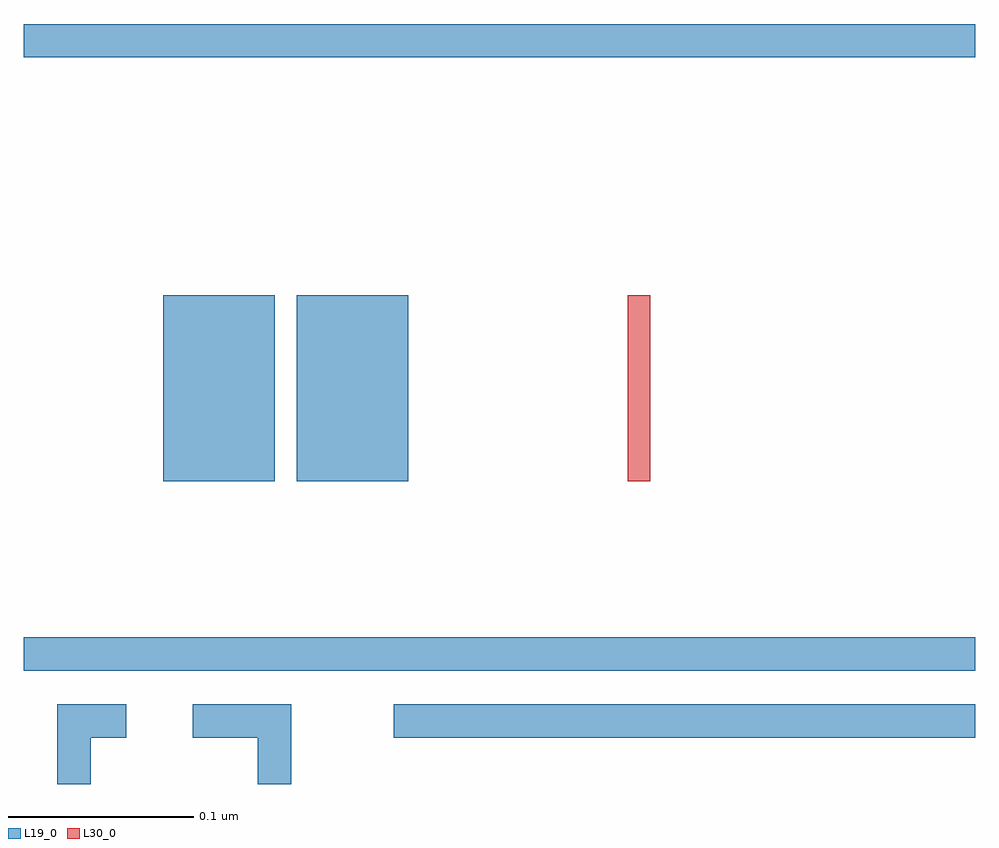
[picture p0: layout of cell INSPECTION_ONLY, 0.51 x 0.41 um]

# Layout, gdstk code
import gdstk
lib = gdstk.Library(unit=1e-6, precision=2.5e-10)
def R(c, l, rs):  # rectangles x0, y0, x1, y1
    for r in rs: c.add(gdstk.rectangle(r[:2], r[2:], *l))
def P(c, l, *ps):  # polygons
    for p in ps: c.add(gdstk.Polygon(p, *l))
L19_0 = (19, 0)
L30_0 = (30, 0)

inspection_only = lib.new_cell('INSPECTION_ONLY')
R(inspection_only, L19_0, [(2.199,0.225,2.512,0.243), (2,0.261,2.512,0.279), (2.075,0.363,2.135,0.463), (2.147,0.363,2.207,0.463), (2,0.591,2.512,0.609)])
P(inspection_only, L19_0, [(2.126,0.2),(2.126,0.225),(2.091,0.225),(2.091,0.243),(2.144,0.243),(2.144,0.2)],
  [(2.018,0.2),(2.018,0.243),(2.055,0.243),(2.055,0.225),(2.036,0.225),(2.036,0.2)])
R(inspection_only, L30_0, [(2.325,0.363,2.337,0.463)])

lib.write_gds('INSPECTION_ONLY.gds')
